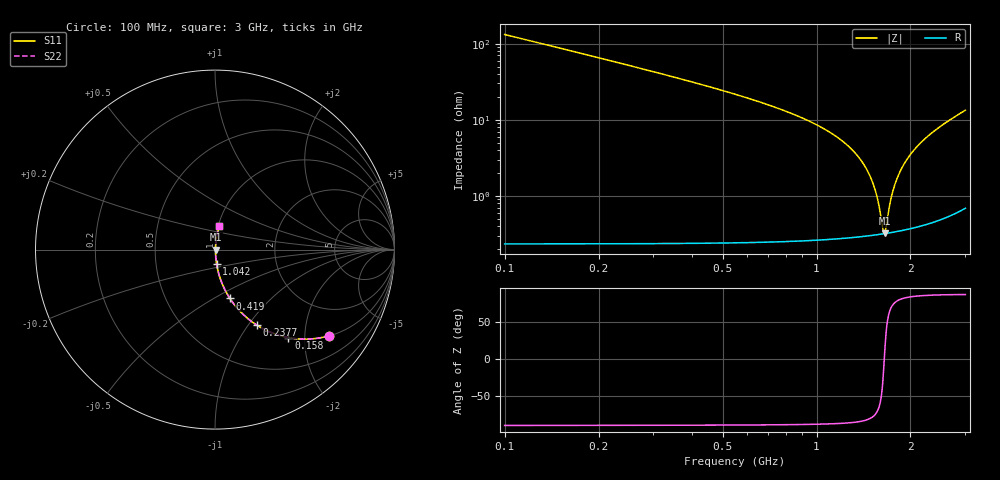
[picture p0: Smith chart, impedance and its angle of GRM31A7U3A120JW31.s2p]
!Murata Part Number: GRM31A7U3A120JW31
!These Parameters are Measured in Series Mode Connection
!Data Generated on Mar 30, 2021
!  o--ll--o
!Port1  Port2
!  o------o
!Operation Temp=25[degC], DC Bias Voltage=0[V]
!Freq. Start=100[MHz] Stop=3[GHz] 401[Steps]
# Hz S RI R 50
!Freq.(Hz) S11(Real) S11(Imag) S21(Real) S21(Imag) S12(Real) S12(Imag) S22(Real) S22(Imag)
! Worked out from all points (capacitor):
!   401 points, 100 MHz to 3 GHz, reference 50 ohm
!   read as one part in series: C = 12 pF near 114.5 MHz
!   lowest |Z| = 321 mohm at 1.651 GHz (marker M1)
!   series resonance near 1.649 GHz, so ESL is about 780 pH
!   S11 on the Smith chart (normalised r, x): 100 MHz: 1.00, -2.64; 158 MHz: 1.00, -1.66; 237.8 MHz: 1.00, -1.09; 419 MHz: 1.00, -0.59; 1.042 GHz: 1.01, -0.16; 3 GHz: 1.01, +0.27
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1e8  0.6357 -0.4803  0.3643 0.4803  0.3643 0.4803  0.6357 -0.4803
1.58e8  0.4095 -0.4903  0.5905 0.4903  0.5905 0.4903  0.4095 -0.4903
2.3775e8  0.2313 -0.4195  0.7687 0.4195  0.7687 0.4195  0.2313 -0.4195
4.19e8  0.0831 -0.2721  0.9169 0.2721  0.9169 0.2721  0.0831 -0.2721
5.8575e8  0.0405 -0.1911  0.9595 0.1911  0.9595 0.1911  0.0405 -0.1911
1.0425e9  0.00873 -0.0777  0.9913 0.0777  0.9913 0.0777  0.00873 -0.0777
1.0715e9  0.00802 -0.0729  0.992 0.0729  0.992 0.0729  0.00802 -0.0729
1.2455e9  0.00503 -0.0473  0.995 0.0473  0.995 0.0473  0.00503 -0.0473
1.376e9  0.00383 -0.0306  0.9962 0.0306  0.9962 0.0306  0.00383 -0.0306
1.4775e9  0.00334 -0.0186  0.9967 0.0186  0.9967 0.0186  0.00334 -0.0186
1.55e9  0.00318 -0.0105  0.9968 0.0105  0.9968 0.0105  0.00318 -0.0105
1.58625e9  0.00315 -0.0066  0.9968 0.0066  0.9968 0.0066  0.00315 -0.0066
1.62975e9  0.00317 -0.00198  0.9968 0.00198  0.9968 0.00198  0.00317 -0.00198
1.6515e9  0.00319 0.000295  0.9968 -0.000295  0.9968 -0.000295  0.00319 0.000295
1.666e9  0.00321 0.0018  0.9968 -0.0018  0.9968 -0.0018  0.00321 0.0018
1.73125e9  0.00336 0.00848  0.9966 -0.00848  0.9966 -0.00848  0.00336 0.00848
1.7965e9  0.0036 0.015  0.9964 -0.015  0.9964 -0.015  0.0036 0.015
1.898e9  0.00415 0.0249  0.9958 -0.0249  0.9958 -0.0249  0.00415 0.0249
2.03575e9  0.00521 0.038  0.9948 -0.038  0.9948 -0.038  0.00521 0.038
2.246e9  0.00752 0.0575  0.9925 -0.0575  0.9925 -0.0575  0.00752 0.0575
2.5215e9  0.0119 0.083  0.9881 -0.083  0.9881 -0.083  0.0119 0.083
3e9  0.024 0.1295  0.976 -0.1295  0.976 -0.1295  0.024 0.1295
